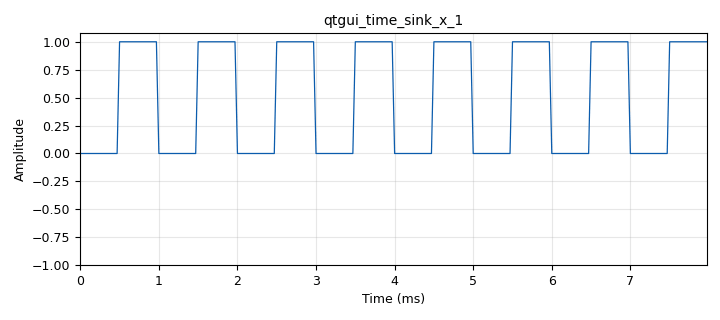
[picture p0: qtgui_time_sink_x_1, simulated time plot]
options:
  parameters:
    generate_options: qt_gui
    id: Neural_Net_Decoder
    output_language: python
    title: Not titled yet
  states: {}

blocks:
- name: noise_amplitude
  id: variable_qtgui_range
  parameters:
    label: Noise Level
    start: '0'
    step: '.01'
    stop: '2'
    value: '0'
  states: {}
- name: samp_rate
  id: variable
  parameters:
    value: '32000'
  states: {}
- name: samp_rate_0
  id: variable
  parameters:
    value: '32000'
  states: {}
- name: sps
  id: variable
  parameters:
    value: '16'
  states: {}
- name: threshold
  id: variable_qtgui_range
  parameters:
    label: Threshold
    start: '0.01'
    step: '0.01'
    stop: '1'
    value: '0.5'
  states: {}
- name: analog_noise_source_x_0
  id: analog_noise_source_x
  parameters:
    amp: noise_amplitude
    noise_type: analog.GR_GAUSSIAN
    seed: '0'
    type: float
  states: {}
- name: analog_sig_source_x_0
  id: analog_sig_source_x
  parameters:
    amp: '1'
    freq: samp_rate/(2*sps)
    offset: '0'
    phase: '0'
    samp_rate: samp_rate
    type: float
    waveform: analog.GR_SQR_WAVE
  states: {}
- name: blocks_add_xx_0
  id: blocks_add_xx
  parameters:
    type: float
  states: {}
- name: blocks_int_to_float_0
  id: blocks_int_to_float
  parameters:
    scale: '1'
  states: {}
- name: blocks_throttle2_0
  id: blocks_throttle2
  parameters:
    samples_per_second: samp_rate
    type: float
  states: {}
- name: epy_block_0
  id: epy_block
  parameters:
    _source_code: "import numpy as np\nimport tensorflow as tf\nfrom gnuradio import gr\n\nclass keras_model_predictor(gr.sync_block):\n    def __init__(self, model_path, threshold=0.5, windowsize=100):\n        gr.sync_block.__init__(\n            self,\n            name='Keras Model Predictor',\n            in_sig=[np.float32],  # Eingangssignal als float32\n            out_sig=[np.int32]    # Ausgangssignal als int32 (für 0 oder 1 Werte)\n        )\n        self.threshold = threshold\n        self.window_size = windowsize\n        self.buffer = np.zeros((self.window_size,), dtype=np.float32)  # Buffer, um die letzten 'windowsize' Samples zu speichern\n\n        # Lade das Keras-Modell\n        self.model = tf.keras.models.load_model(model_path)\n\n    def work(self, input_items, output_items):\n        in0 = input_items[0]\n        out = output_items[0]\n\n        for i in range(len(in0)):\n            # Aktualisiere den Buffer mit dem neuesten Sample\n            self.buffer[:-1] = self.buffer[1:]\n            self.buffer[-1] = in0[i]\n\n            if i >= self.window_size - 1:\n                # Umforme den Buffer, um der Eingabeerwartung des Modells zu entsprechen\n                model_input = np.expand_dims(self.buffer, axis=0)\n\n                # Mache eine Vorhersage mit dem Modell\n                prediction = self.model.predict(model_input)\n\n                # Interpretiere die Vorhersage basierend auf dem Schwellenwert\n                out[i] = 1 if prediction[0][0] > self.threshold else 0\n            else:\n                # Fülle die Ausgabe mit 0, bis genug Daten für die erste Vorhersage gesammelt wurden\n                out[i] = 0\n\n        return len(out)\n\n"
    threshold: '0.5'
    windowsize: '10'
  states: {}
- name: qtgui_time_sink_x_0
  id: qtgui_time_sink_x
  parameters:
    entags: 'False'
    marker1: '0'
    size: int(256/sps)
    srate: samp_rate
    stemplot: 'True'
    tr_level: '0.1'
    tr_mode: qtgui.TRIG_MODE_AUTO
    type: float
    update_time: '0.01'
  states: {}
- name: qtgui_time_sink_x_1
  id: qtgui_time_sink_x
  parameters:
    size: '256'
    srate: samp_rate
    type: float
    update_time: '0.01'
  states: {}
- name: rational_resampler_xxx_0
  id: rational_resampler_xxx
  parameters:
    decim: sps
    interp: '1'
    taps: '[1]'
    type: fff
  states: {}

connections:
- [analog_noise_source_x_0, '0', blocks_add_xx_0, '1']
- [analog_sig_source_x_0, '0', blocks_throttle2_0, '0']
- [blocks_add_xx_0, '0', qtgui_time_sink_x_1, '0']
- [blocks_int_to_float_0, '0', rational_resampler_xxx_0, '0']
- [blocks_throttle2_0, '0', blocks_add_xx_0, '0']
- [rational_resampler_xxx_0, '0', qtgui_time_sink_x_0, '0']

metadata:
  file_format: 1
  grc_version: 3.10.6.0
